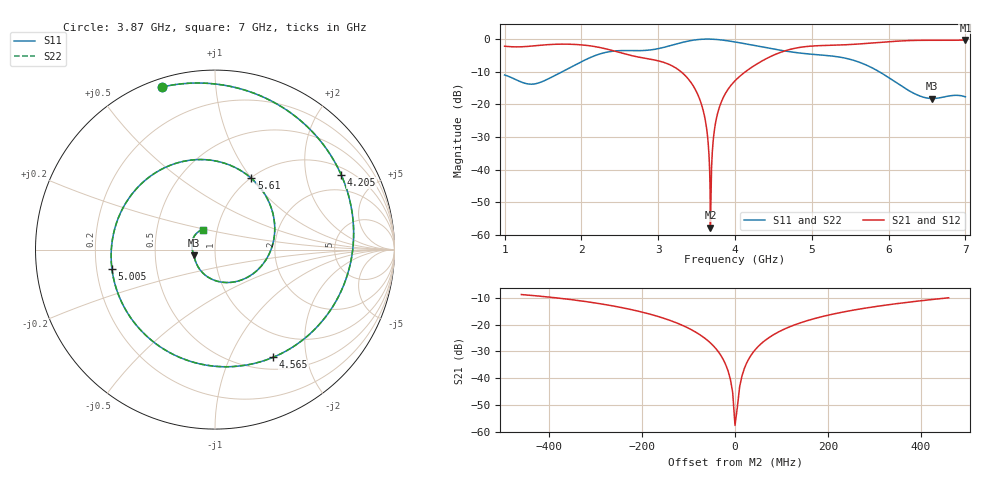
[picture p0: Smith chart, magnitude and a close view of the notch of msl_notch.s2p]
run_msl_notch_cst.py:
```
#!/usr/bin/env python3
"""Build, solve and export the openEMS MSL notch filter in CST (E-009).

Uses ``cstControlApi.py`` (the CST Python/VBA wrapper) to create the same
microstrip notch filter as
``openEMS/.github/smoketests/python/MSL_NotchFilter.py``:

    substrate  100 x 30 mm, 254 um RO4350B (eps_r 3.66)
    line       600 um wide, 35 um PEC, 100 mm long
    stub       600 um wide, 12 mm long (shunt open stub)
    ports      waveguide ports at x = +/-50 mm, 1 ... 7 GHz

It then exports a Touchstone file, reads the CST S-parameters, compares the
notch with the converged openEMS curve
(``docs/migration/reference-data/convergence/msl_notch.json``) using
``run_cst_comparison.py``, and writes a Markdown report.

Requirements
    * CST Studio Suite installed (the ``cst`` Python libraries are found by
      ``cstControlApi``; set ``CST_INSTALL_DIR`` if it is not in the default
      location).
    * A CST-compatible Python: 3.8 ... 3.13 (CST 2026 rejects 3.14).

Usage
    python docs/migration/cst/run_msl_notch_cst.py
    python docs/migration/cst/run_msl_notch_cst.py --no-run      # model only
    python docs/migration/cst/run_msl_notch_cst.py --out-dir C:/cst-run

The script closes CST at the end unless ``--keep-open`` is given.
"""

from __future__ import annotations

import argparse
import json
import math
import sys
import time
from pathlib import Path

HERE = Path(__file__).resolve().parent
REPO = HERE.parents[2]
sys.path.insert(0, str(HERE))
sys.path.insert(0, str(REPO / "scripts" / "ci"))

if not (3, 8) <= sys.version_info[:2] <= (3, 13):
    raise SystemExit(
        f"CST's Python libraries support 3.8-3.13, this interpreter is "
        f"{sys.version_info.major}.{sys.version_info.minor}. Use the Python "
        "that ships with CST or another supported interpreter."
    )

import cstControlApi as cc  # noqa: E402
from run_cst_comparison import compare, write_report  # noqa: E402

REFERENCE = REPO / "docs/migration/reference-data/convergence/msl_notch.json"


def build_model(project: "cc.CstProject", port_type: str = "waveguide",
                port_height: float = 1000.0, lines_per_wavelength: int = 160,
                adapt: bool = False, stub: bool = True,
                strip_thickness: float = 35.0, open_margin: float = 0.0) -> None:
    """Create the MSL notch geometry, ports and solver settings."""
    project.set_units("um", "GHz", "ns")
    project.set_background(epsilon=1.0, mu=1.0)

    # Ports sit on the x planes; zmin is the ground plane. The lateral and top
    # boundaries can be pushed into open space (expanded open) so the absorber
    # is not glued to the substrate edge.
    if open_margin > 0:
        project.set_boundaries(
            xmin="open", xmax="open",
            ymin="expanded open", ymax="expanded open",
            zmin="electric", zmax="expanded open",
            open_add_space_factor=open_margin,
        )
    else:
        project.set_boundaries(
            xmin="open", xmax="open",
            ymin="open", ymax="open",
            zmin="electric", zmax="open",
        )

    project.add_material("RO4350B", epsilon=3.66, mu=1.0, tan_delta=0.0)

    # Substrate: 100 mm x 30 mm x 254 um, stub area included.
    project.define_brick(
        "substrate",
        (-50000, 50000), (-9000, 21000), (0, 254),
        material="RO4350B", component="dielectric",
    )
    # 35 um PEC strip and stub (openEMS uses a zero-thickness PEC sheet).
    project.define_brick(
        "strip",
        (-50000, 50000), (-300, 300), (254, 254 + strip_thickness),
        material="PEC", component="metal",
    )
    if stub:
        project.define_brick(
            "stub",
            (-300, 300), (300, 12300), (254, 254 + strip_thickness),
            material="PEC", component="metal",
        )
    # Air above the strip up to the openEMS domain top (3 mm). Without this the
    # open zmax boundary would sit just above the strip and detune the line.
    project.define_brick(
        "air",
        (-50000, 50000), (-9000, 21000), (254 + strip_thickness, 3000),
        material="Vacuum", component="air",
    )

    # Waveguide ports over the substrate cross-section at both line ends. The
    # port plane must contain the strip (z = 254..289), otherwise CST resolves
    # a parallel-plate mode with a ~4 GHz cutoff instead of the microstrip mode.
    # A discrete 50 ohm edge port is offered for cases where the waveguide
    # mode is not matched (CST then shows port-to-stub ripple).
    for number, x in ((1, -50000), (2, 50000)):
        if port_type == "waveguide":
            project.add_waveguide_port(
                number,
                orientation="xmin" if x < 0 else "xmax",
                coordinates="Free",
                x_range=(x, x),
                y_range=(-3000, 3000),
                z_range=(0, port_height),
                modes=1,
                port_on_bound=True,
                label=f"port{number}",
            )
        elif port_type == "discrete":
            # Keep at least three mesh steps from the open boundary: inset the
            # lumped port by 2 mm; the 2 mm overhang is electrically negligible
            # below 7 GHz.
            inset = 2000.0
            project.add_discrete_port(
                number,
                (x - inset if x > 0 else x + inset, 0, 254),
                (x - inset if x > 0 else x + inset, 0, 0),
                kind="Sparameter",
                impedance=50.0,
                monitor=True,
            )
        else:
            raise ValueError(f"unknown port type: {port_type!r}")

    project.set_solver("HF Time Domain")
    project.set_frequency_range(1.0, 7.0)
    project.set_frequency_samples(1201)
    project.set_time_domain(
        mesh_adaption=adapt,
        auto_norm_impedance=False,
        norming_impedance=50.0,
    )
    # Global mesh: CST's documented MeshSettings.Set keys. The plain
    # Mesh.LinesPerWavelength property is silently ignored on this release, so
    # the density must go through MeshSettings.
    project.configure_vba_object(
        "Mesh", caption="mesh type", reset=False,
        settings={"MeshType": "PBA"},
        extra=['.SetCreator "High Frequency"'],
    )
    project.configure_vba_object(
        "MeshSettings", caption="mesh density", reset=False,
        extra=[
            '.SetMeshType "Hex"',
            f'.Set "StepsPerWaveNear", {lines_per_wavelength}',
            f'.Set "StepsPerWaveFar", {lines_per_wavelength}',
            '.Set "RatioLimit", 2',
        ],
    )


def read_port(project_path: Path, item: str) -> tuple[list[float], list[complex]]:
    """Read one S-parameter from the saved project, returning Hz and complex values."""
    cst = cc.load_cst()
    results = cst.results.ProjectFile(str(project_path), allow_interactive=True).get_3d()
    result = results.get_result_item(item)
    xs = list(result.get_xdata())
    ys = [complex(value) for value in result.get_ydata()]
    unit = str(getattr(result, "xunit", "") or "").lower()
    scale = {"hz": 1.0, "khz": 1e3, "mhz": 1e6, "ghz": 1e9}.get(unit)
    if scale is None:
        # No unit attribute: infer from the magnitude of the axis.
        peak = max((abs(value) for value in xs), default=0.0)
        scale = 1.0 if peak > 1e7 else 1e9 if peak < 1e3 else 1e6
    return [value * scale for value in xs], ys


def write_touchstone(path: Path, freqs: list[float],
                     s11: list[complex], s21: list[complex]) -> None:
    """Write a 2-port Touchstone file in Hz/RI (S12 = S21, reciprocal)."""
    lines = [
        "! CST export from run_msl_notch_cst.py (openEMS MSL notch reference)",
        "! substrate RO4350B 3.66, 254 um; line 600 um; stub 12 mm; ports at x=+/-50 mm",
        "# Hz S RI R 50",
    ]
    for f, a, b in zip(freqs, s11, s21):
        lines.append(
            f"{f:.6e} "
            f"{a.real:.10e} {a.imag:.10e} "
            f"{b.real:.10e} {b.imag:.10e} "
            f"{b.real:.10e} {b.imag:.10e} "
            f"{a.real:.10e} {a.imag:.10e}"
        )
    path.write_text("\n".join(lines) + "\n", encoding="utf-8")


def main() -> int:
    parser = argparse.ArgumentParser(description=__doc__,
                                     formatter_class=argparse.RawDescriptionHelpFormatter)
    parser.add_argument("--out-dir", type=Path, default=HERE / "run")
    parser.add_argument("--project", type=Path, default=None)
    parser.add_argument("--no-run", action="store_true", help="build and save only")
    parser.add_argument("--keep-open", action="store_true", help="leave CST running")
    parser.add_argument("--port-type", choices=("waveguide", "discrete"),
                        default="waveguide")
    parser.add_argument("--port-height", type=float, default=1000.0,
                        help="waveguide port plane height in um (z = 0 .. height)")
    parser.add_argument("--lines-per-wavelength", type=int, default=160)
    parser.add_argument("--adapt", action="store_true",
                        help="enable adaptive mesh refinement (the validated run uses a fixed 160 steps/lambda mesh)")
    parser.add_argument("--no-stub", action="store_true",
                        help="omit the shunt stub (port/line diagnostic)")
    parser.add_argument("--no-compare", action="store_true",
                        help="stop after the Touchstone export (diagnostics)")
    parser.add_argument("--strip-thickness", type=float, default=35.0,
                        help="PEC strip/stub thickness in um (openEMS uses 0)")
    parser.add_argument("--open-margin", type=float, default=0.0,
                        help="expanded-open space factor for y/zmax (0 = boundary at the substrate edge)")
    args = parser.parse_args()

    out_dir = args.out_dir.resolve()
    out_dir.mkdir(parents=True, exist_ok=True)
    project_path = (args.project or (out_dir / "msl_notch.cst")).resolve()

    session = cc.CstSession().start()
    project = None
    try:
        project = session.new_mws()
        build_model(project,
                    port_type=args.port_type,
                    port_height=args.port_height,
                    lines_per_wavelength=args.lines_per_wavelength,
                    adapt=args.adapt,
                    stub=not args.no_stub,
                    strip_thickness=args.strip_thickness,
                    open_margin=args.open_margin)
        project.save(project_path)
        print(f"model saved: {project_path}")

        if args.no_run:
            print("--no-run: solver not started")
            return 0

        started = time.time()
        print("running CST time-domain solver ... (this can take several minutes)")
        project.run_solver()
        print(f"solver finished in {time.time() - started:.1f}s")
        project.save(project_path)

        freqs, s11 = read_port(project_path, "1D Results\\S-Parameters\\S1,1")
        _, s21 = read_port(project_path, "1D Results\\S-Parameters\\S2,1")
        if not freqs:
            raise RuntimeError("CST returned no S-parameter samples")

        try:
            messages = project.messages()
            (out_dir / "cst_messages.txt").write_text(
                str(messages), encoding="utf-8", errors="replace")
        except Exception:
            pass

        touchstone = out_dir / "msl_notch.s2p"
        write_touchstone(touchstone, freqs, s11, s21)
        print(f"touchstone: {touchstone} ({len(freqs)} samples)")

        if args.no_compare:
            return 0

        rows = [(f, a, b) for f, a, b in zip(freqs, s11, s21)]
        result = compare(REFERENCE, rows)
        report = out_dir / "msl_notch_comparison.md"
        write_report(result, report)

        metadata = {
            "project": str(project_path),
            "touchstone": str(touchstone),
            "samples": len(freqs),
            "frequency_hz": [min(freqs), max(freqs)],
            "cst_notch_hz": result["cst_notch_hz"],
            "cst_s11_at_notch": result["cst_s11_at_notch"],
            "cst_s21_at_notch_db": result["cst_s21_at_notch_db"],
            "reference_notch_hz": result["reference_notch_hz"],
            "notch_relative_difference": result["notch_relative_difference"],
            "gates": result["gates"],
            "passed": result["passed"],
        }
        (out_dir / "msl_notch_cst.json").write_text(
            json.dumps(metadata, indent=2), encoding="utf-8")

        print()
        print(f"CST notch        : {result['cst_notch_hz'] / 1e9:.4f} GHz "
              f"(|S11| {result['cst_s11_at_notch']:.4f}, "
              f"|S21| {result['cst_s21_at_notch_db']:.1f} dB)")
        print(f"openEMS notch    : {result['reference_notch_hz'] / 1e9:.4f} GHz")
        print(f"relative diff    : {result['notch_relative_difference'] * 100:.3f} %")
        for name, passed in result["gates"].items():
            print(f"  {name:22s} {'PASS' if passed else 'FAIL'}")
        print(f"report           : {report}")
        print("CST comparison   :", "PASS" if result["passed"] else "FAIL")
        return 0 if result["passed"] else 1
    except Exception:
        if project is not None:
            try:
                print("CST messages:")
                print(project.messages())
            except Exception:
                pass
        raise
    finally:
        if project is not None and not args.keep_open:
            try:
                project.close(save=False)
            except Exception:
                pass
        if not args.keep_open:
            session.close()


if __name__ == "__main__":
    raise SystemExit(main())
```
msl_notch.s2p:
! CST export from run_msl_notch_cst.py (openEMS MSL notch reference)
! substrate RO4350B 3.66, 254 um; line 600 um; stub 12 mm; ports at x=+/-50 mm
# Hz S RI R 50
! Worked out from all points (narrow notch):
!   1201 points, 1 GHz to 7 GHz, reference 50 ohm
!   highest |S21| = -0.32 dB at 7 GHz (marker M1); lowest = -57.7 dB at 3.68 GHz (marker M2)
!   notch at M2: 55.4 dB deep, 77.1 MHz wide at half that depth
!   lowest |S11| = -18.2 dB at 6.57 GHz (marker M3), VSWR 1.28, Z = 39.3 - j2.62 ohm
!   |S11| at or under -10 dB: start of sweep to 1.752 GHz; 5.878 GHz to end of sweep
!   |S22| runs from -18.2 to 0.0 dB; largest |S21 - S12| = 0
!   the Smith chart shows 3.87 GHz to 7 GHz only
!   S11 on the Smith chart (normalised r, x): 3.87 GHz: 0.04, +0.73; 4.205 GHz: 1.28, +3.19; 4.565 GHz: 0.66, -1.47; 5.005 GHz: 0.26, -0.09; 5.61 GHz: 1.01, +1.00; 7 GHz: 0.85, +0.19
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1e9  0.00305 0.2819  -0.6536 0.4168  -0.6536 0.4168  0.00305 0.2819
1.685e9  -0.1101 -0.2664  0.8322 0.0378  0.8322 0.0378  -0.1101 -0.2664
3.68e9  -0.885 0.4583  -0.000469 -0.00121  -0.000469 -0.00121  -0.885 0.4583
3.87e9  -0.2929 0.9063  0.1386 0.0367  0.1386 0.0367  -0.2929 0.9063
4e9  0.1836 0.8831  0.2209 -0.0626  0.2209 -0.0626  0.1836 0.8831
4.205e9  0.7036 0.4153  0.1677 -0.3198  0.1677 -0.3198  0.7036 0.4153
4.565e9  0.3254 -0.5994  -0.5164 -0.3213  -0.5164 -0.3213  0.3254 -0.5994
5.005e9  -0.5744 -0.1063  -0.1709 0.7627  -0.1709 0.7627  -0.5744 -0.1063
5.61e9  0.2027 0.3969  0.7089 -0.4495  0.7089 -0.4495  0.2027 0.3969
6.57e9  -0.1185 -0.0328  -0.4207 0.8589  -0.4207 0.8589  -0.1185 -0.0328
7e9  -0.0696 0.1104  0.8872 0.3761  0.8872 0.3761  -0.0696 0.1104
